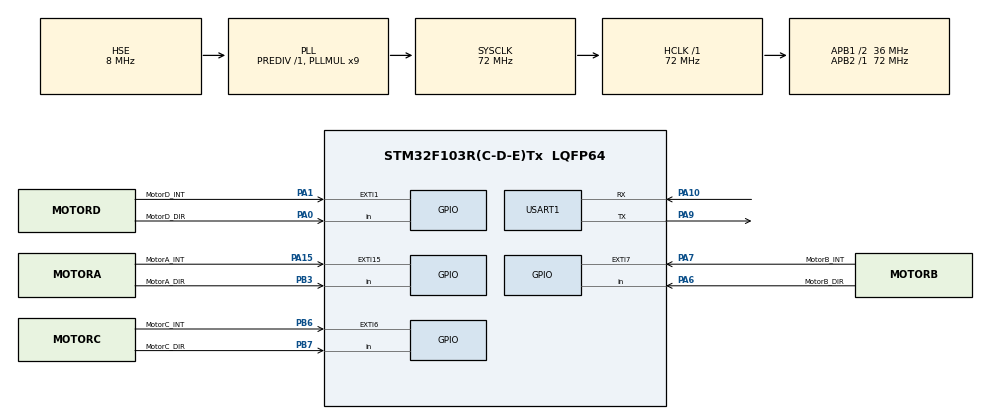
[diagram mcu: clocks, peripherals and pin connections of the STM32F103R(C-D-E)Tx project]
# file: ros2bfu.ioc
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Dma.Request0=USART1_RX
Dma.Request1=USART1_TX
Dma.USART1_RX.0.Direction=DMA_PERIPH_TO_MEMORY
Dma.USART1_RX.0.Instance=DMA1_Channel5
Dma.USART1_RX.0.MemDataAlignment=DMA_MDATAALIGN_BYTE
Dma.USART1_RX.0.MemInc=DMA_MINC_ENABLE
Dma.USART1_RX.0.Mode=DMA_CIRCULAR
Dma.USART1_RX.0.PeriphDataAlignment=DMA_PDATAALIGN_BYTE
Dma.USART1_RX.0.PeriphInc=DMA_PINC_DISABLE
Dma.USART1_RX.0.Priority=DMA_PRIORITY_VERY_HIGH
Dma.USART1_TX.1.Direction=DMA_MEMORY_TO_PERIPH
Dma.USART1_TX.1.Instance=DMA1_Channel4
Dma.USART1_TX.1.MemDataAlignment=DMA_MDATAALIGN_BYTE
Dma.USART1_TX.1.MemInc=DMA_MINC_ENABLE
Dma.USART1_TX.1.Mode=DMA_NORMAL
Dma.USART1_TX.1.PeriphDataAlignment=DMA_PDATAALIGN_BYTE
Dma.USART1_TX.1.PeriphInc=DMA_PINC_DISABLE
Dma.USART1_TX.1.Priority=DMA_PRIORITY_VERY_HIGH
FREERTOS.HEAP_NUMBER=4
FREERTOS.Tasks01=defaultTask,24,1000,StartDefaultTask,Default,NULL,Dynamic,NULL,NULL
FREERTOS.configTOTAL_HEAP_SIZE=3720
Mcu.Family=STM32F1
Mcu.Name=STM32F103R(C-D-E)Tx
Mcu.Package=LQFP64
NVIC.DMA1_Channel4_IRQn=true\:5\:0\:false\:false\:true\:true\:false\:true\:true
NVIC.DMA1_Channel5_IRQn=true\:5\:0\:false\:false\:true\:true\:false\:true\:true
NVIC.EXTI15_10_IRQn=true\:5\:0\:false\:false\:true\:true\:true\:true\:true
NVIC.EXTI9_5_IRQn=true\:5\:0\:false\:false\:true\:true\:true\:true\:true
NVIC.PriorityGroup=NVIC_PRIORITYGROUP_4
NVIC.TIM1_UP_IRQn=true\:15\:0\:false\:false\:true\:false\:false\:true\:true
NVIC.TimeBase=TIM1_UP_IRQn
NVIC.TimeBaseIP=TIM1
NVIC.USART1_IRQn=true\:5\:0\:false\:false\:true\:true\:true\:true\:true
PA0-WKUP.GPIO_Label=MotorD_DIR
PA0-WKUP.Signal=GPIO_Input
PA1.GPIO_Label=MotorD_INT
PA1.Signal=GPXTI1
PA10.Mode=Asynchronous
PA10.Signal=USART1_RX
PA13.Mode=Serial_Wire
PA13.Signal=SYS_JTMS-SWDIO
PA14.Mode=Serial_Wire
PA14.Signal=SYS_JTCK-SWCLK
PA15.GPIO_Label=MotorA_INT
PA15.Signal=GPXTI15
PA6.GPIO_Label=MotorB_DIR
PA6.Signal=GPIO_Input
PA7.GPIO_Label=MotorB_INT
PA7.Signal=GPXTI7
PA9.Mode=Asynchronous
PA9.Signal=USART1_TX
PB3.GPIO_Label=MotorA_DIR
PB3.Signal=GPIO_Input
PB6.GPIO_Label=MotorC_INT
PB6.Signal=GPXTI6
PB7.GPIO_Label=MotorC_DIR
PB7.Signal=GPIO_Input
PD0-OSC_IN.Mode=HSE-External-Oscillator
PD0-OSC_IN.Signal=RCC_OSC_IN
PD1-OSC_OUT.Mode=HSE-External-Oscillator
PD1-OSC_OUT.Signal=RCC_OSC_OUT
ProjectManager.HeapSize=0x200
ProjectManager.StackSize=0x400
ProjectManager.TargetToolchain=CMake
RCC.AHBFreq_Value=72000000
RCC.APB1CLKDivider=RCC_HCLK_DIV2
RCC.APB1Freq_Value=36000000
RCC.APB1TimFreq_Value=72000000
RCC.APB2Freq_Value=72000000
RCC.APB2TimFreq_Value=72000000
RCC.HCLKFreq_Value=72000000
RCC.PLLMUL=RCC_PLL_MUL9
RCC.PLLSourceVirtual=RCC_PLLSOURCE_HSE
RCC.SYSCLKFreq_VALUE=72000000
RCC.SYSCLKSource=RCC_SYSCLKSOURCE_PLLCLK
RCC.USBFreq_Value=72000000
USART1.VirtualMode=VM_ASYNC
VP_FREERTOS_VS_CMSIS_V2.Mode=CMSIS_V2
VP_SYS_VS_tim1.Mode=TIM1
board=custom

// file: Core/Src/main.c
/* USER CODE BEGIN Header */
/**
  ******************************************************************************
  * @file           : main.c
  * @brief          : Main program body
  ******************************************************************************
  * @attention
  *
  * Copyright (c) 2024 STMicroelectronics.
  * All rights reserved.
  *
  * This software is licensed under terms that can be found in the LICENSE file
  * in the root directory of this software component.
  * If no LICENSE file comes with this software, it is provided AS-IS.
  *
  ******************************************************************************
  */
/* USER CODE END Header */
#include "main.h"
#include "cmsis_os.h"
#include "dma.h"
#include "usart.h"
#include "gpio.h"

void SystemClock_Config(void);
void MX_FREERTOS_Init(void);

int main(void)
{

  /* MCU Configuration--------------------------------------------------------*/

  /* Reset of all peripherals, Initializes the Flash interface and the Systick. */
  HAL_Init();

  /* Configure the system clock */
  SystemClock_Config();

  /* Initialize all configured peripherals */
  MX_GPIO_Init();
  MX_DMA_Init();
  MX_USART1_UART_Init();

  /* Init scheduler */
  osKernelInitialize();

  /* Call init function for freertos objects (in cmsis_os2.c) */
  MX_FREERTOS_Init();

  /* Start scheduler */
  osKernelStart();

  /* We should never get here as control is now taken by the scheduler */

  /* Infinite loop */
  while (1)
  {

  }
}

void SystemClock_Config(void)
{
  RCC_OscInitTypeDef RCC_OscInitStruct = {0};
  RCC_ClkInitTypeDef RCC_ClkInitStruct = {0};

  /** Initializes the RCC Oscillators according to the specified parameters
  * in the RCC_OscInitTypeDef structure.
  */
  RCC_OscInitStruct.OscillatorType = RCC_OSCILLATORTYPE_HSE;
  RCC_OscInitStruct.HSEState = RCC_HSE_ON;
  RCC_OscInitStruct.HSEPredivValue = RCC_HSE_PREDIV_DIV1;
  RCC_OscInitStruct.HSIState = RCC_HSI_ON;
  RCC_OscInitStruct.PLL.PLLState = RCC_PLL_ON;
  RCC_OscInitStruct.PLL.PLLSource = RCC_PLLSOURCE_HSE;
  RCC_OscInitStruct.PLL.PLLMUL = RCC_PLL_MUL9;
  if (HAL_RCC_OscConfig(&RCC_OscInitStruct) != HAL_OK)
  {
    Error_Handler();
  }

  /** Initializes the CPU, AHB and APB buses clocks
  */
  RCC_ClkInitStruct.ClockType = RCC_CLOCKTYPE_HCLK|RCC_CLOCKTYPE_SYSCLK
                              |RCC_CLOCKTYPE_PCLK1|RCC_CLOCKTYPE_PCLK2;
  RCC_ClkInitStruct.SYSCLKSource = RCC_SYSCLKSOURCE_PLLCLK;
  RCC_ClkInitStruct.AHBCLKDivider = RCC_SYSCLK_DIV1;
  RCC_ClkInitStruct.APB1CLKDivider = RCC_HCLK_DIV2;
  RCC_ClkInitStruct.APB2CLKDivider = RCC_HCLK_DIV1;

  if (HAL_RCC_ClockConfig(&RCC_ClkInitStruct, FLASH_LATENCY_2) != HAL_OK)
  {
    Error_Handler();
  }
}

void HAL_TIM_PeriodElapsedCallback(TIM_HandleTypeDef *htim)
{
  if (htim->Instance == TIM1) {
    HAL_IncTick();
  }
}

void Error_Handler(void)
{
  __disable_irq();
  while (1)
  {
  }
}

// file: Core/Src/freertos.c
/* USER CODE BEGIN Header */
/**
  ******************************************************************************
  * File Name          : freertos.c
  * Description        : Code for freertos applications
  ******************************************************************************
  * @attention
  *
  * Copyright (c) 2024 STMicroelectronics.
  * All rights reserved.
  *
  * This software is licensed under terms that can be found in the LICENSE file
  * in the root directory of this software component.
  * If no LICENSE file comes with this software, it is provided AS-IS.
  *
  ******************************************************************************
  */
/* USER CODE END Header */

#include "FreeRTOS.h"
#include "task.h"
#include "main.h"
#include "cmsis_os.h"

/* USER CODE BEGIN Includes */
#include <rcl/rcl.h>
#include <rcl/error_handling.h>
#include <rclc/rclc.h>
#include <rclc/executor.h>
#include <uxr/client/transport.h>
#include <rmw_microxrcedds_c/config.h>
#include <rmw_microros/rmw_microros.h>
#include <std_msgs/msg/int32.h>
/* USER CODE END Includes */

/* Definitions for defaultTask */
osThreadId_t defaultTaskHandle;
const osThreadAttr_t defaultTask_attributes = {
  .name = "defaultTask",
  .stack_size = 1000 * 4,
  .priority = (osPriority_t) osPriorityNormal,
};

void StartDefaultTask(void *argument);

void MX_FREERTOS_Init(void); /* (MISRA C 2004 rule 8.1) */

void MX_FREERTOS_Init(void) {

  /* Create the thread(s) */
  /* creation of defaultTask */
  defaultTaskHandle = osThreadNew(StartDefaultTask, NULL, &defaultTask_attributes);

}

/* USER CODE BEGIN Header_StartDefaultTask */

extern UART_HandleTypeDef huart1;

bool cubemx_transport_open(struct uxrCustomTransport * transport);
bool cubemx_transport_close(struct uxrCustomTransport * transport);
size_t cubemx_transport_write(struct uxrCustomTransport* transport, const uint8_t * buf, size_t len, uint8_t * err);
size_t cubemx_transport_read(struct uxrCustomTransport* transport, uint8_t* buf, size_t len, int timeout, uint8_t* err);

void * microros_allocate(size_t size, void * state);
void microros_deallocate(void * pointer, void * state);
void * microros_reallocate(void * pointer, size_t size, void * state);
void * microros_zero_allocate(size_t number_of_elements, size_t size_of_element, void * state);

void bfuMain(void);
/**
  * @brief  Function implementing the defaultTask thread.
  * @param  argument: Not used
  * @retval None
  */
/* USER CODE END Header_StartDefaultTask */
void StartDefaultTask(void *argument)
{
  /* USER CODE BEGIN StartDefaultTask */
    rmw_uros_set_custom_transport(
        true,
        (void *)&huart1,
        cubemx_transport_open,
        cubemx_transport_close,
        cubemx_transport_write,
        cubemx_transport_read);

    rcl_allocator_t freeRTOS_allocator = rcutils_get_zero_initialized_allocator();
    freeRTOS_allocator.allocate = microros_allocate;
    freeRTOS_allocator.deallocate = microros_deallocate;
    freeRTOS_allocator.reallocate = microros_reallocate;
    freeRTOS_allocator.zero_allocate =  microros_zero_allocate;
    if (!rcutils_set_default_allocator(&freeRTOS_allocator)) {
        printf("Error on default allocators (line %d)\n", __LINE__);
    }
    bfuMain();
    for(;;) {
        osDelay(1);
    }
  /* USER CODE END StartDefaultTask */
}
